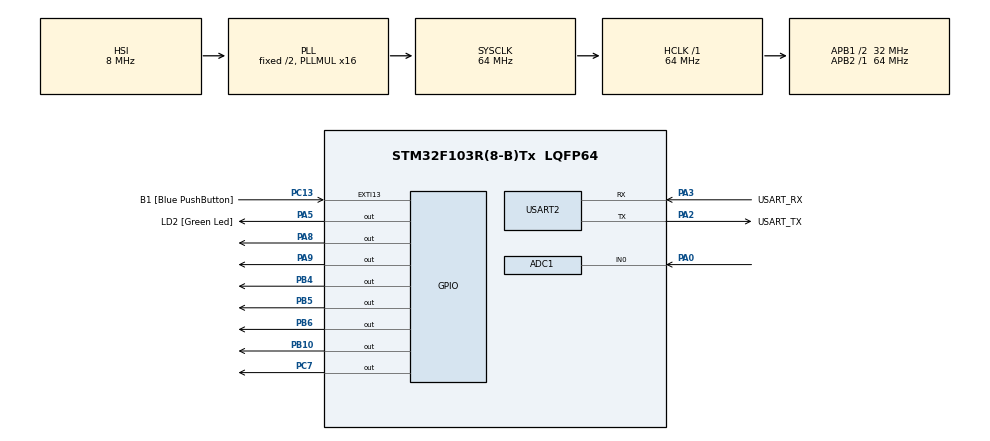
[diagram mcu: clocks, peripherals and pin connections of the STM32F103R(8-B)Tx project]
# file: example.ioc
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ADC1.Channel-0\#ChannelRegularConversion=ADC_CHANNEL_0
ADC1.NbrOfConversionFlag=1
ADC1.Rank-0\#ChannelRegularConversion=1
ADC1.SamplingTime-0\#ChannelRegularConversion=ADC_SAMPLETIME_1CYCLE_5
ADC1.master=1
Mcu.Family=STM32F1
Mcu.Name=STM32F103R(8-B)Tx
Mcu.Package=LQFP64
NVIC.EXTI15_10_IRQn=true\:0\:0\:false\:false\:true\:true\:true
NVIC.PriorityGroup=NVIC_PRIORITYGROUP_4
PA0-WKUP.Signal=ADCx_IN0
PA13.GPIO_Label=TMS
PA13.Mode=Serial_Wire
PA13.Signal=SYS_JTMS-SWDIO
PA14.GPIO_Label=TCK
PA14.Mode=Serial_Wire
PA14.Signal=SYS_JTCK-SWCLK
PA2.GPIO_Label=USART_TX
PA2.GPIO_Mode=GPIO_MODE_AF_PP
PA2.GPIO_PuPd=GPIO_NOPULL
PA2.GPIO_Speed=GPIO_SPEED_FREQ_LOW
PA2.Mode=Asynchronous
PA2.Signal=USART2_TX
PA3.GPIO_Label=USART_RX
PA3.GPIO_Mode=GPIO_MODE_AF_PP
PA3.GPIO_PuPd=GPIO_NOPULL
PA3.GPIO_Speed=GPIO_SPEED_FREQ_LOW
PA3.Mode=Asynchronous
PA3.Signal=USART2_RX
PA5.GPIO_Label=LD2 [Green Led]
PA5.GPIO_ModeDefaultOutputPP=GPIO_MODE_OUTPUT_PP
PA5.GPIO_PuPd=GPIO_NOPULL
PA5.GPIO_Speed=GPIO_SPEED_FREQ_LOW
PA5.Signal=GPIO_Output
PA8.Signal=GPIO_Output
PA9.Signal=GPIO_Output
PB10.Signal=GPIO_Output
PB3.GPIO_Label=SWO
PB3.Signal=SYS_JTDO-TRACESWO
PB4.Signal=GPIO_Output
PB5.Signal=GPIO_Output
PB6.Signal=GPIO_Output
PC13-TAMPER-RTC.GPIO_Label=B1 [Blue PushButton]
PC13-TAMPER-RTC.GPIO_PuPd=GPIO_NOPULL
PC13-TAMPER-RTC.Signal=GPXTI13
PC14-OSC32_IN.Mode=LSE-External-Oscillator
PC14-OSC32_IN.Signal=RCC_OSC32_IN
PC15-OSC32_OUT.Mode=LSE-External-Oscillator
PC15-OSC32_OUT.Signal=RCC_OSC32_OUT
PC7.Signal=GPIO_Output
PD0-OSC_IN.Mode=HSE-External-Clock-Source
PD0-OSC_IN.Signal=RCC_OSC_IN
PD1-OSC_OUT.Mode=HSE-External-Clock-Source
PD1-OSC_OUT.Signal=RCC_OSC_OUT
ProjectManager.HeapSize=0x200
ProjectManager.StackSize=0x400
ProjectManager.TargetToolchain=SW4STM32
RCC.ADCPresc=RCC_ADCPCLK2_DIV6
RCC.AHBFreq_Value=64000000
RCC.APB1CLKDivider=RCC_HCLK_DIV2
RCC.APB1Freq_Value=32000000
RCC.APB1TimFreq_Value=64000000
RCC.APB2Freq_Value=64000000
RCC.APB2TimFreq_Value=64000000
RCC.HCLKFreq_Value=64000000
RCC.PLLMUL=RCC_PLL_MUL16
RCC.RTCClockSelection=RCC_RTCCLKSOURCE_LSE
RCC.SYSCLKFreq_VALUE=64000000
RCC.SYSCLKSource=RCC_SYSCLKSOURCE_PLLCLK
RCC.USBFreq_Value=64000000
SH.ADCx_IN0.0=ADC1_IN0,IN0
USART2.VirtualMode=VM_ASYNC
VP_RTC_No_RTC_Output.Mode=RTC_OUT_NO
VP_RTC_VS_RTC_Activate.Mode=RTC_Enabled
VP_RTC_VS_RTC_Calendar.Mode=RTC_Calendar
board=NUCLEO-F103RB

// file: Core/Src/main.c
/* USER CODE BEGIN Header */
/**
 ******************************************************************************
 * @file           : main.c
 * @brief          : Main program body
 ******************************************************************************
 * @attention
 *
 * <h2><center>&copy; Copyright (c) 2021 STMicroelectronics.
 * All rights reserved.</center></h2>
 *
 * This software component is licensed by ST under BSD 3-Clause license,
 * the "License"; You may not use this file except in compliance with the
 * License. You may obtain a copy of the License at:
 *                        opensource.org/licenses/BSD-3-Clause
 *
 ******************************************************************************
 */
/* USER CODE END Header */
#include "main.h"
#include "adc.h"
#include "rtc.h"
#include "usart.h"
#include "gpio.h"

/* USER CODE BEGIN Includes */
#include "lcd.h"
/* USER CODE END Includes */

void SystemClock_Config(void);

int main(void)
{

  /* MCU Configuration--------------------------------------------------------*/

  /* Reset of all peripherals, Initializes the Flash interface and the Systick. */
  HAL_Init();

  /* Configure the system clock */
  SystemClock_Config();

  /* Initialize all configured peripherals */
  MX_GPIO_Init();
  MX_ADC1_Init();
  MX_USART2_UART_Init();
  MX_RTC_Init();

  /* Infinite loop */
  /* USER CODE BEGIN WHILE */
  // LCD Initialization
  Lcd_PortType ports[] = {
		  GPIOB,
		  GPIOB,
		  GPIOB,
		  GPIOA
  };
  Lcd_PinType pins[] = {
		  GPIO_PIN_5,
		  GPIO_PIN_4,
		  GPIO_PIN_10,
		  GPIO_PIN_8
  };
  Lcd_HandleTypeDef LCD = Lcd_create(ports,pins,GPIOA,GPIO_PIN_9,GPIOC,GPIO_PIN_7,LCD_4_BIT_MODE);
  HAL_GPIO_WritePin(GPIOB,GPIO_PIN_6, 1);
  Lcd_clear(&LCD);
  Lcd_string(&LCD,"MEU AMORZINHO");
	while (1) {
		HAL_GPIO_TogglePin(LD2_GPIO_Port, LD2_Pin);
		HAL_Delay(500);
    /* USER CODE END WHILE */

	}
}

void SystemClock_Config(void)
{
  RCC_OscInitTypeDef RCC_OscInitStruct = {0};
  RCC_ClkInitTypeDef RCC_ClkInitStruct = {0};
  RCC_PeriphCLKInitTypeDef PeriphClkInit = {0};

  /** Initializes the RCC Oscillators according to the specified parameters
  * in the RCC_OscInitTypeDef structure.
  */
  RCC_OscInitStruct.OscillatorType = RCC_OSCILLATORTYPE_HSI|RCC_OSCILLATORTYPE_LSE;
  RCC_OscInitStruct.LSEState = RCC_LSE_ON;
  RCC_OscInitStruct.HSIState = RCC_HSI_ON;
  RCC_OscInitStruct.HSICalibrationValue = RCC_HSICALIBRATION_DEFAULT;
  RCC_OscInitStruct.PLL.PLLState = RCC_PLL_ON;
  RCC_OscInitStruct.PLL.PLLSource = RCC_PLLSOURCE_HSI_DIV2;
  RCC_OscInitStruct.PLL.PLLMUL = RCC_PLL_MUL16;
  if (HAL_RCC_OscConfig(&RCC_OscInitStruct) != HAL_OK)
  {
    Error_Handler();
  }
  /** Initializes the CPU, AHB and APB buses clocks
  */
  RCC_ClkInitStruct.ClockType = RCC_CLOCKTYPE_HCLK|RCC_CLOCKTYPE_SYSCLK
                              |RCC_CLOCKTYPE_PCLK1|RCC_CLOCKTYPE_PCLK2;
  RCC_ClkInitStruct.SYSCLKSource = RCC_SYSCLKSOURCE_PLLCLK;
  RCC_ClkInitStruct.AHBCLKDivider = RCC_SYSCLK_DIV1;
  RCC_ClkInitStruct.APB1CLKDivider = RCC_HCLK_DIV2;
  RCC_ClkInitStruct.APB2CLKDivider = RCC_HCLK_DIV1;

  if (HAL_RCC_ClockConfig(&RCC_ClkInitStruct, FLASH_LATENCY_2) != HAL_OK)
  {
    Error_Handler();
  }
  PeriphClkInit.PeriphClockSelection = RCC_PERIPHCLK_RTC|RCC_PERIPHCLK_ADC;
  PeriphClkInit.RTCClockSelection = RCC_RTCCLKSOURCE_LSE;
  PeriphClkInit.AdcClockSelection = RCC_ADCPCLK2_DIV6;
  if (HAL_RCCEx_PeriphCLKConfig(&PeriphClkInit) != HAL_OK)
  {
    Error_Handler();
  }
}

void Error_Handler(void)
{
}

/************************ (C) COPYRIGHT STMicroelectronics *****END OF FILE****/
